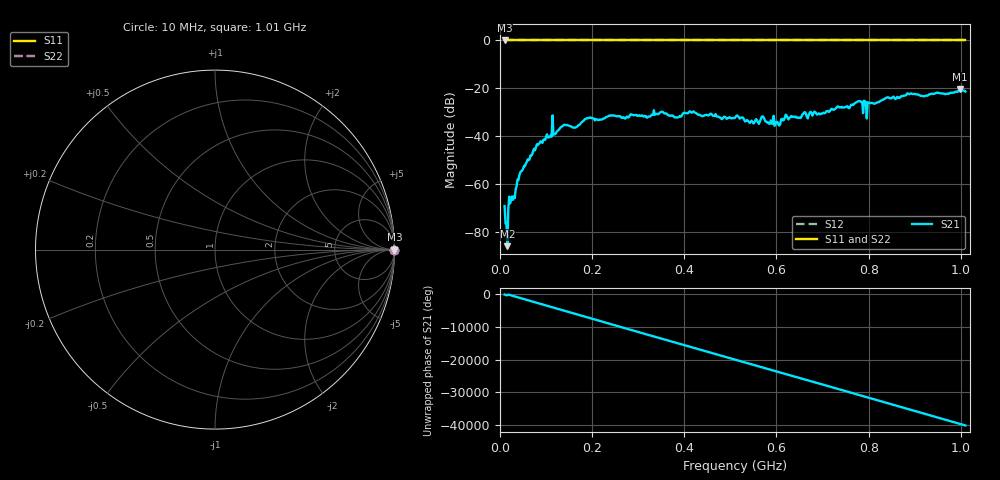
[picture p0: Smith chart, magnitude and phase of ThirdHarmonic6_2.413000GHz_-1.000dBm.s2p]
! 8/17/2025 4:03:50 AM
! C:\ANRITSUVNA\TEMP\TEMP.S2P
! CHANNEL.1
! TR.MEASUREMENT
! RAW.DATA
! RF.CORRECTION.OFF
! AVERAGING.OFF
! IF.BANDWIDTH: 5KHZ
! SWEEPTYPE:  FREQ.SWEEP(Linear)
! Reference Plane Port Info
! PORT:  PORT1  PORT2
! DISTANCE:  0  m  0  m
! TIME:  0  s  0  s
! PHASE.OFFSET:  0  deg.  0  deg.
! LOSS:  0  dB  0  dB
! REF.LOSS:  0  dB  0  dB
! REF.FREQ:  0  Hz  0  Hz
! Power Info
! POWER:  -20  dBm  -20  dBm
! EFF.POWER:  -20  dBm  -20  dBm
! SOURCE.ATTEN:  0  dB  0  dB
! TEST.ATTEN:  0  dB  0  dB
# GHZ S RI R 50.0
! FREQ.GHZ  S11RE  S11IM  S21RE  S21IM  S12RE  S12IM  S22RE  S22IM
!; PortSelection: Port_12
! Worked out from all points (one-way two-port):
!   501 points, 10 MHz to 1.01 GHz, reference 50 ohm
!   highest |S21| = -20.22 dB at 998 MHz (marker M1); lowest = -85.7 dB at 16 MHz (marker M2)
!   lowest |S11| = 0.0 dB at 10 MHz (marker M3)
!   |S11| at or under -10 dB: nowhere
!   |S22| runs from 0.0 to 0.0 dB; largest |S21 - S12| = 1.1
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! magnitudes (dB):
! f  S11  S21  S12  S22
! 10 MHz  0.0  -69.0  0.0  0.0
! 12 MHz  0.0  -76.2  0.0  0.0
! 16 MHz  0.0  -85.7  0.0  0.0
! 22 MHz  0.0  -67.9  0.0  0.0
! 32 MHz  0.0  -65.7  0.0  0.0
! 42 MHz  0.0  -56.2  0.0  0.0
! 84 MHz  0.0  -43.2  0.0  0.0
! 136 MHz  0.0  -35.7  0.0  0.0
! 162 MHz  0.0  -36.3  0.0  0.0
! 178 MHz  0.0  -33.9  0.0  0.0
! 344 MHz  0.0  -30.7  0.0  0.0
! 510 MHz  0.0  -32.2  0.0  0.0
! 546 MHz  0.0  -33.4  0.0  0.0
! 570 MHz  0.0  -31.6  0.0  0.0
! 604 MHz  0.0  -34.9  0.0  0.0
! 620 MHz  0.0  -30.9  0.0  0.0
! 678 MHz  0.0  -31.3  0.0  0.0
! 778 MHz  0.0  -25.3  0.0  0.0
! 792 MHz  0.0  -25.4  0.0  0.0
! 844 MHz  0.0  -23.9  0.0  0.0
! 998 MHz  0.0  -20.2  0.0  0.0
! 1.01 GHz  0.0  -21.3  0.0  0.0
